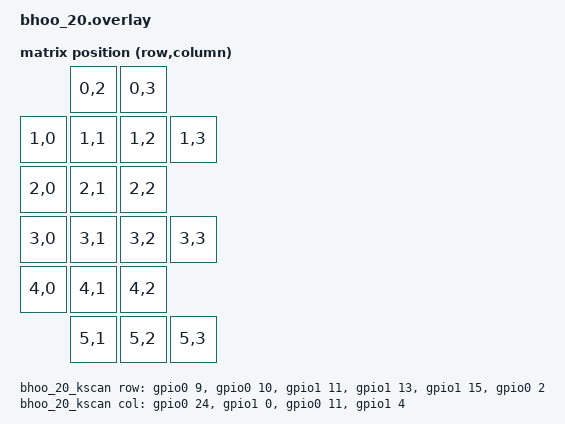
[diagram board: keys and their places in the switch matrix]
#include <dt-bindings/zmk/matrix_transform.h>

&i2c0 {
    status = "okay";

    ssd1306: ssd1306@3c {
        compatible = "solomon,ssd1306fb";
        reg = <0x3c>;
        width = <128>;
        height = <64>;
        segment-offset = <0>;
        segment-remap;
        com-invdir;
        com-sequential;
        prechargep = <0x22>;
    };
};

/ {
    chosen {
        zmk,kscan = &bhoo_20_kscan;
        zmk,matrix-transform = &bhoo_20_transform;
        zephyr,display = &ssd1306;
    };

    bhoo_20_kscan: kscan {
        compatible = "zmk,kscan-gpio-matrix";
        label = "bhoo_20_kscan";
        diode-direction = "col2row";

        row-gpios
            = <&gpio0  9 (GPIO_ACTIVE_HIGH | GPIO_PULL_DOWN)>   // R0
            , <&gpio0 10 (GPIO_ACTIVE_HIGH | GPIO_PULL_DOWN)>   // R1
            , <&gpio1 11 (GPIO_ACTIVE_HIGH | GPIO_PULL_DOWN)>   // R2
            , <&gpio1 13 (GPIO_ACTIVE_HIGH | GPIO_PULL_DOWN)>   // R3
            , <&gpio1 15 (GPIO_ACTIVE_HIGH | GPIO_PULL_DOWN)>   // R4
            , <&gpio0  2 (GPIO_ACTIVE_HIGH | GPIO_PULL_DOWN)>   // R5
            ;

        col-gpios
            = <&gpio0 24 GPIO_ACTIVE_HIGH>   // C0
            , <&gpio1  0 GPIO_ACTIVE_HIGH>   // C1
            , <&gpio0 11 GPIO_ACTIVE_HIGH>   // C2
            , <&gpio1  4 GPIO_ACTIVE_HIGH>   // C3
            ;
    };

    bhoo_20_transform: matrix_transform {
        compatible = "zmk,matrix-transform";
        rows = <6>;
        columns = <4>;
        map = <
            // Positions 0–18: macropad keys
                        RC(0,2) RC(0,3)
            RC(1,0) RC(1,1) RC(1,2) RC(1,3)
            RC(2,0) RC(2,1) RC(2,2)
            RC(3,0) RC(3,1) RC(3,2) RC(3,3)
            RC(4,0) RC(4,1) RC(4,2)
                    RC(5,1) RC(5,2) RC(5,3)
        >;
    };
};
